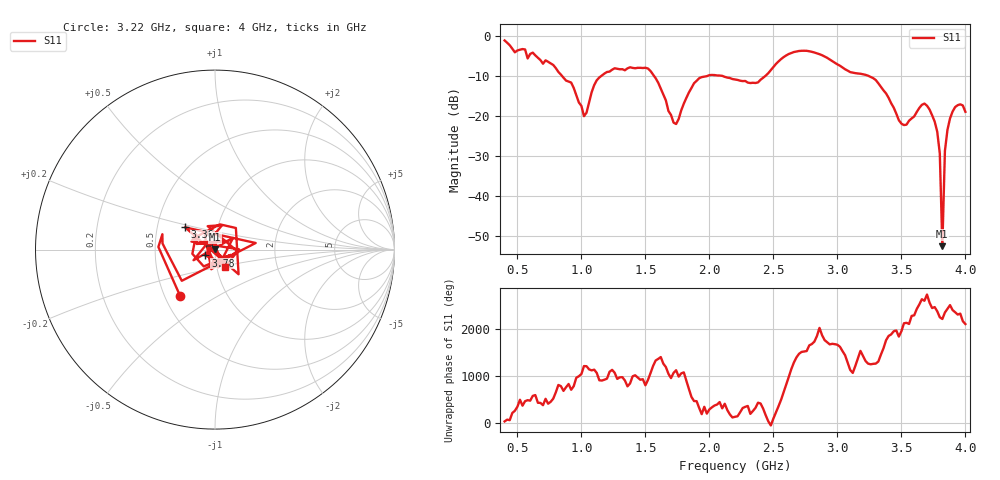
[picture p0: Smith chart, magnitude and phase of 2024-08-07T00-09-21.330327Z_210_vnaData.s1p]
!Created with skrf (http://scikit-rf.org).
# Hz S RI R 50.0
!freq ReS11 ImS11
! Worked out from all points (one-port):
!   181 points, 400 MHz to 4 GHz, reference 50 ohm
!   lowest |S11| = -52.6 dB at 3.82 GHz (marker M1), VSWR 1.00, Z = 50.2 + j0.172 ohm
!   |S11| at or under -10 dB: 1.566 GHz to 1.989 GHz (423 MHz wide, 23.8 % of centre); 2.09 GHz to 2.44 GHz (349.5 MHz wide, 15.4 % of centre); 3.239 GHz to end of sweep (the widest 3 of 4)
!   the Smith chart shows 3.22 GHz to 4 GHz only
!   S11 on the Smith chart (normalised r, x): 3.22 GHz: 0.60, -0.35; 3.36 GHz: 0.70, +0.18; 3.78 GHz: 0.90, -0.06; 4 GHz: 1.09, -0.22
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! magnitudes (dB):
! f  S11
! 400 MHz  -1.2
! 860 MHz  -10.5
! 920 MHz  -11.7
! 1.02 GHz  -20.1
! 1.12 GHz  -11.1
! 1.3 GHz  -8.4
! 1.52 GHz  -8.2
! 1.6 GHz  -11.7
! 1.72 GHz  -21.7
! 1.76 GHz  -20.8
! 1.92 GHz  -10.6
! 2.2 GHz  -11.0
! 2.38 GHz  -11.7
! 2.66 GHz  -4.1
! 2.86 GHz  -4.6
! 3.1 GHz  -9.1
! 3.22 GHz  -9.8
! 3.36 GHz  -13.7
! 3.5 GHz  -22.0
! 3.56 GHz  -21.2
! 3.68 GHz  -17.0
! 3.78 GHz  -24.0
! 3.8 GHz  -29.4
! 3.82 GHz  -52.6
! 3.84 GHz  -28.8
! 3.86 GHz  -23.5
! 3.92 GHz  -17.8
! 4 GHz  -19.0
